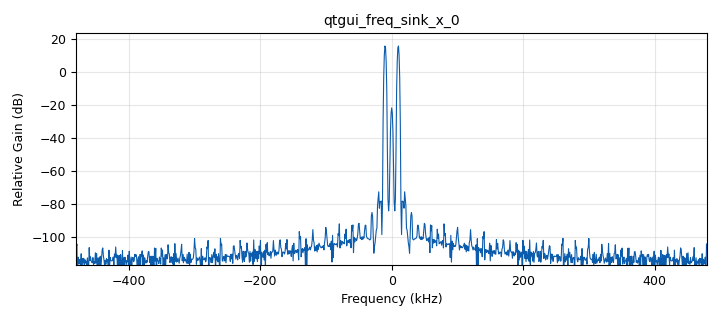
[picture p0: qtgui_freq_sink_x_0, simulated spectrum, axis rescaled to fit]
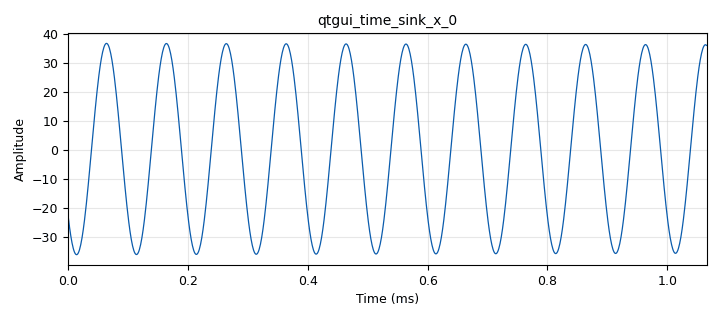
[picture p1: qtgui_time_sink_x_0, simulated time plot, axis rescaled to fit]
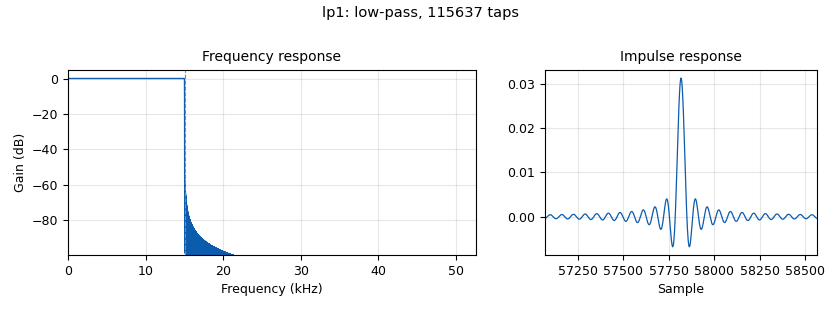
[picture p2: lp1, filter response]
<?xml version='1.0' encoding='utf-8'?>
<?grc format='1' created='3.7.13'?>
<flow_graph>
<block>
<key>options</key>
<param><key>id</key><value>top_block</value></param>
<param><key>generate_options</key><value>qt_gui</value></param>
</block>
<block>
<key>variable</key>
<param><key>id</key><value>samp_rate</value></param>
<param><key>value</key><value>960000</value></param>
</block>
<block>
<key>analog_const_source_x</key>
<param><key>id</key><value>analog_const_source_x_1</value></param>
<param><key>const</key><value>1</value></param>
<param><key>type</key><value>float</value></param>
</block>
<block>
<key>blocks_abs_xx</key>
<param><key>id</key><value>blocks_abs_xx_0</value></param>
<param><key>type</key><value>int</value></param>
</block>
<block>
<key>blocks_add_xx</key>
<param><key>id</key><value>blocks_add_xx_0</value></param>
<param><key>type</key><value>float</value></param>
</block>
<block>
<key>blocks_multiply_xx</key>
<param><key>id</key><value>blocks_multiply_xx_0</value></param>
<param><key>type</key><value>float</value></param>
</block>
<block>
<key>blocks_multiply_xx</key>
<param><key>id</key><value>blocks_multiply_xx_1</value></param>
<param><key>type</key><value>float</value></param>
</block>
<block>
<key>blocks_throttle</key>
<param><key>id</key><value>blocks_throttle_0</value></param>
<param><key>samples_per_second</key><value>samp_rate</value></param>
<param><key>type</key><value>float</value></param>
</block>
<block>
<key>blocks_throttle</key>
<param><key>id</key><value>blocks_throttle_1</value></param>
<param><key>samples_per_second</key><value>samp_rate</value></param>
<param><key>type</key><value>float</value></param>
</block>
<block>
<key>analog_sig_source_x</key>
<param><key>id</key><value>carrier1</value></param>
<param><key>amp</key><value>1</value></param>
<param><key>freq</key><value>100000</value></param>
<param><key>offset</key><value>0</value></param>
<param><key>type</key><value>float</value></param>
<param><key>samp_rate</key><value>samp_rate</value></param>
<param><key>waveform</key><value>analog.GR_COS_WAVE</value></param>
</block>
<block>
<key>dc_blocker_xx</key>
<param><key>id</key><value>dc_blocker_xx_0</value></param>
<param><key>length</key><value>32</value></param>
<param><key>long_form</key><value>True</value></param>
<param><key>type</key><value>ff</value></param>
</block>
<block>
<key>low_pass_filter</key>
<param><key>id</key><value>lp1</value></param>
<param><key>cutoff_freq</key><value>15000</value></param>
<param><key>decim</key><value>1</value></param>
<param><key>type</key><value>fir_filter_fff</value></param>
<param><key>gain</key><value>1</value></param>
<param><key>samp_rate</key><value>samp_rate</value></param>
<param><key>width</key><value>20</value></param>
<param><key>win</key><value>firdes.WIN_HAMMING</value></param>
</block>
<block>
<key>analog_const_source_x</key>
<param><key>id</key><value>m</value></param>
<param><key>const</key><value>0.8</value></param>
<param><key>type</key><value>float</value></param>
</block>
<block>
<key>qtgui_freq_sink_x</key>
<param><key>id</key><value>qtgui_freq_sink_x_0</value></param>
<param><key>bw</key><value>samp_rate</value></param>
<param><key>fc</key><value>0</value></param>
<param><key>fftsize</key><value>1024</value></param>
<param><key>showports</key><value>True</value></param>
<param><key>type</key><value>float</value></param>
<param><key>wintype</key><value>firdes.WIN_BLACKMAN_hARRIS</value></param>
</block>
<block>
<key>qtgui_time_sink_x</key>
<param><key>id</key><value>qtgui_time_sink_x_0</value></param>
<param><key>color1</key><value>"blue"</value></param>
<param><key>label1</key><value></value></param>
<param><key>size</key><value>1024</value></param>
<param><key>srate</key><value>samp_rate</value></param>
<param><key>type</key><value>float</value></param>
</block>
<block>
<key>analog_sig_source_x</key>
<param><key>id</key><value>tone1</value></param>
<param><key>amp</key><value>1</value></param>
<param><key>freq</key><value>10000</value></param>
<param><key>offset</key><value>0</value></param>
<param><key>type</key><value>float</value></param>
<param><key>samp_rate</key><value>samp_rate</value></param>
<param><key>waveform</key><value>analog.GR_COS_WAVE</value></param>
</block>
<connection><source_block_id>analog_const_source_x_1</source_block_id><sink_block_id>blocks_add_xx_0</sink_block_id><source_key>0</source_key><sink_key>0</sink_key></connection>
<connection><source_block_id>blocks_abs_xx_0</source_block_id><sink_block_id>lp1</sink_block_id><source_key>0</source_key><sink_key>0</sink_key></connection>
<connection><source_block_id>blocks_add_xx_0</source_block_id><sink_block_id>blocks_multiply_xx_1</sink_block_id><source_key>0</source_key><sink_key>0</sink_key></connection>
<connection><source_block_id>blocks_multiply_xx_0</source_block_id><sink_block_id>blocks_add_xx_0</sink_block_id><source_key>0</source_key><sink_key>1</sink_key></connection>
<connection><source_block_id>blocks_multiply_xx_1</source_block_id><sink_block_id>blocks_abs_xx_0</sink_block_id><source_key>0</source_key><sink_key>0</sink_key></connection>
<connection><source_block_id>blocks_throttle_0</source_block_id><sink_block_id>blocks_multiply_xx_0</sink_block_id><source_key>0</source_key><sink_key>1</sink_key></connection>
<connection><source_block_id>blocks_throttle_1</source_block_id><sink_block_id>blocks_multiply_xx_1</sink_block_id><source_key>0</source_key><sink_key>1</sink_key></connection>
<connection><source_block_id>carrier1</source_block_id><sink_block_id>blocks_throttle_1</sink_block_id><source_key>0</source_key><sink_key>0</sink_key></connection>
<connection><source_block_id>dc_blocker_xx_0</source_block_id><sink_block_id>qtgui_freq_sink_x_0</sink_block_id><source_key>0</source_key><sink_key>0</sink_key></connection>
<connection><source_block_id>dc_blocker_xx_0</source_block_id><sink_block_id>qtgui_time_sink_x_0</sink_block_id><source_key>0</source_key><sink_key>0</sink_key></connection>
<connection><source_block_id>lp1</source_block_id><sink_block_id>dc_blocker_xx_0</sink_block_id><source_key>0</source_key><sink_key>0</sink_key></connection>
<connection><source_block_id>m</source_block_id><sink_block_id>blocks_multiply_xx_0</sink_block_id><source_key>0</source_key><sink_key>0</sink_key></connection>
<connection><source_block_id>tone1</source_block_id><sink_block_id>blocks_throttle_0</sink_block_id><source_key>0</source_key><sink_key>0</sink_key></connection>
</flow_graph>
